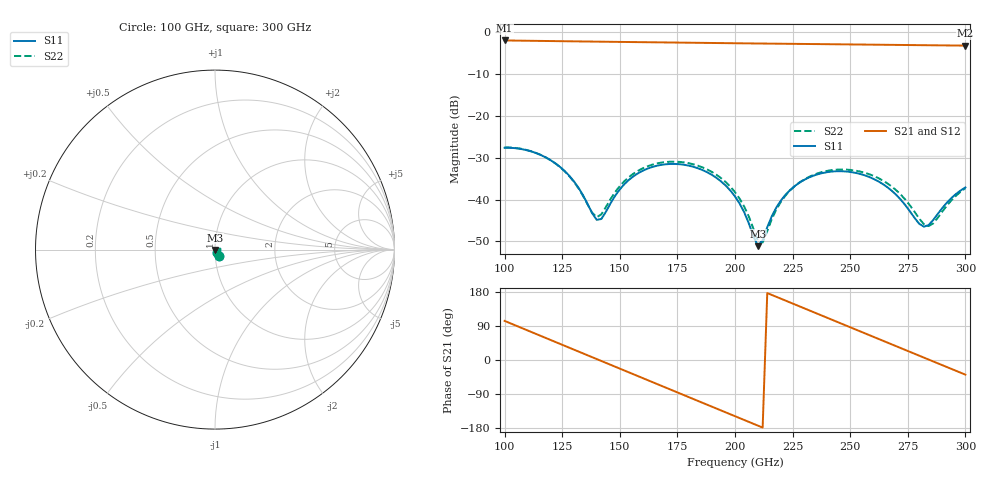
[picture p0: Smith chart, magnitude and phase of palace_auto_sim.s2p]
#  GHZ S DB R 50
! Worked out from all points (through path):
!   101 points, 100 GHz to 300 GHz, reference 50 ohm
!   highest |S21| = -1.97 dB at 100 GHz (marker M1); lowest = -3.2 dB at 300 GHz (marker M2)
!   group delay of S21, straight-line fit = 6.97 ps
!   lowest |S11| = -51.1 dB at 210 GHz (marker M3), VSWR 1.01, Z = 50.1 - j0.268 ohm
!   |S11| at or under -10 dB: start of sweep to end of sweep
!   |S22| runs from -50.2 to -27.5 dB; largest |S21 - S12| = 9.2e-14
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100  -27.61 -59.9  -1.97 103.2  -1.97 103.2  -27.53 -59.9
110  -28.24 -81.1  -2.04 77.9  -2.04 77.9  -28.19 -81.0
120  -30.59 -101.5  -2.11 52.7  -2.11 52.7  -30.59 -101.0
128  -34.26 -114.4  -2.16 32.6  -2.16 32.6  -34.34 -113.1
134  -38.91 -115.7  -2.21 17.5  -2.21 17.5  -39.08 -112.4
138  -43.24 -100.2  -2.23 7.4  -2.23 7.4  -43.14 -93.4
142  -44.61 -57.4  -2.26 -2.6  -2.26 -2.6  -43.50 -52.2
154  -35.25 -31.7  -2.34 -32.8  -2.34 -32.8  -34.59 -32.6
168  -31.69 -57.3  -2.43 -68.0  -2.43 -68.0  -31.15 -58.3
184  -32.52 -91.9  -2.53 -108.2  -2.53 -108.2  -31.91 -93.0
192  -34.82 -108.3  -2.58 -128.2  -2.58 -128.2  -34.08 -109.6
200  -39.24 -120.9  -2.63 -148.3  -2.63 -148.3  -38.21 -122.8
204  -43.03 -121.7  -2.66 -158.3  -2.66 -158.3  -41.67 -125.1
210  -51.12 -74.3  -2.69 -173.3  -2.69 -173.3  -49.95 -92.4
212  -49.67 -40.6  -2.70 -178.4  -2.70 -178.4  -50.25 -57.0
220  -40.14 -17.8  -2.75 161.6  -2.75 161.6  -40.46 -20.7
234  -34.29 -41.4  -2.82 126.5  -2.82 126.5  -34.10 -43.2
250  -33.38 -74.9  -2.91 86.4  -2.91 86.4  -32.90 -76.9
268  -37.86 -106.5  -3.02 41.3  -3.02 41.3  -36.86 -110.3
280  -45.79 -88.5  -3.09 11.3  -3.09 11.3  -44.55 -103.2
284  -46.08 -57.9  -3.11 1.3  -3.11 1.3  -46.33 -75.2
300  -37.09 -41.1  -3.20 -38.7  -3.20 -38.7  -37.28 -44.5
